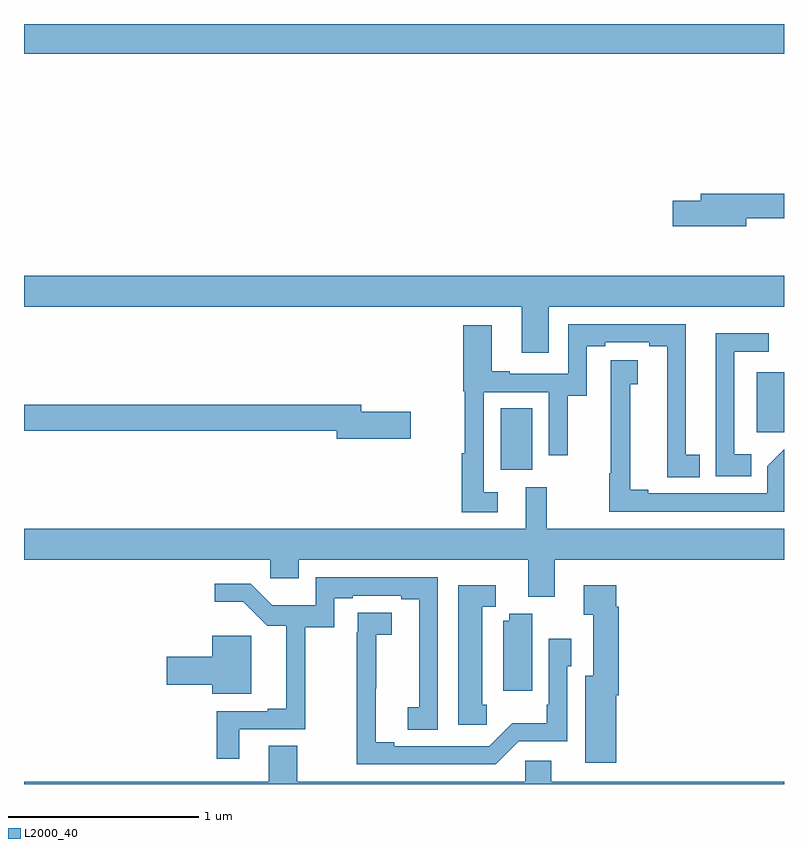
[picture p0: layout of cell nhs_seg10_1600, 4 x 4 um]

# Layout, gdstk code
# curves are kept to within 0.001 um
import gdstk
lib = gdstk.Library(unit=1e-6, precision=1e-09)
def R(c, l, rs):  # rectangles x0, y0, x1, y1
    for r in rs: c.add(gdstk.rectangle(r[:2], r[2:], *l))
def P(c, l, *ps):  # polygons
    for p in ps: c.add(gdstk.Polygon(p, *l))
L2000_40 = (2000, 40)

nhs_seg10_1600 = lib.new_cell('nhs_seg10_1600')
R(nhs_seg10_1600, L2000_40, [(197.51,1270.155,197.674,1270.478), (198.857,1270.352,199,1270.666), (195,1272.344,199,1272.5)])
P(nhs_seg10_1600, L2000_40, [(198.802,1271.478),(199,1271.478),(199,1271.606),(198.563,1271.606),(198.563,1271.57),(198.414,1271.57),(198.414,1271.435),(198.802,1271.435)],
  [(197.761,1271.012),(199,1271.012),(199,1271.176),(195,1271.176),(195,1271.012),(197.621,1271.012),(197.621,1270.77),(197.761,1270.77)],
  [(197.494,1270.035),(197.421,1270.035),(197.421,1270.563),(197.763,1270.563),(197.763,1270.23),(197.862,1270.23),(197.862,1270.543),(197.961,1270.543),(197.961,1270.804),(198.058,1270.804),(198.058,1270.824),(198.29,1270.824),(198.29,1270.804),(198.386,1270.804),(198.386,1270.114),(198.557,1270.114),(198.557,1270.233),(198.484,1270.233),(198.484,1270.92),(197.865,1270.92),(197.865,1270.659),(197.557,1270.659),(197.557,1270.672),(197.461,1270.672),(197.461,1270.915),(197.312,1270.915),(197.312,1270.566),(197.32,1270.566),(197.32,1270.242),(197.305,1270.242),(197.305,1269.93),(197.494,1269.93)],
  [(198.827,1270.235),(198.738,1270.235),(198.738,1270.776),(198.919,1270.776),(198.919,1270.873),(198.641,1270.873),(198.641,1270.322),(198.642,1270.322),(198.642,1270.119),(198.827,1270.119)],
  [(199,1270.261),(198.912,1270.173),(198.912,1270.029),(198.286,1270.029),(198.286,1270.049),(198.19,1270.049),(198.19,1270.604),(198.229,1270.604),(198.229,1270.729),(198.089,1270.729),(198.089,1270.136),(198.079,1270.136),(198.079,1269.933),(199,1269.933)],
  [(197.035,1270.46),(196.774,1270.46),(196.774,1270.496),(195,1270.496),(195,1270.36),(196.646,1270.36),(196.646,1270.318),(197.035,1270.318)],
  [(197.794,1269.68),(199,1269.68),(199,1269.844),(197.752,1269.844),(197.752,1270.063),(197.642,1270.063),(197.642,1269.844),(195,1269.844),(195,1269.68),(196.296,1269.68),(196.296,1269.582),(196.447,1269.582),(196.447,1269.68),(197.654,1269.68),(197.654,1269.486),(197.794,1269.486)],
  [(196.132,1268.787),(196.481,1268.787),(196.481,1269.325),(196.632,1269.325),(196.632,1269.478),(196.729,1269.478),(196.729,1269.492),(196.985,1269.492),(196.985,1269.472),(197.081,1269.472),(197.08,1268.905),(197.019,1268.905),(197.019,1268.785),(197.178,1268.785),(197.178,1269.588),(196.536,1269.588),(196.536,1269.442),(196.307,1269.442),(196.194,1269.555),(196.005,1269.555),(196.005,1269.458),(196.153,1269.458),(196.279,1269.333),(196.379,1269.333),(196.379,1268.896),(196.283,1268.896),(196.283,1268.883),(196.015,1268.883),(196.015,1268.634),(196.132,1268.634)],
  [(197.435,1268.916),(197.413,1268.916),(197.413,1269.432),(197.482,1269.432),(197.482,1269.547),(197.285,1269.547),(197.285,1268.811),(197.435,1268.811)],
  [(198.118,1268.966),(198.131,1268.966),(198.131,1269.434),(198.118,1269.434),(198.118,1269.547),(197.946,1269.547),(197.946,1269.391),(197.996,1269.391),(197.996,1269.07),(197.954,1269.07),(197.954,1268.613),(198.118,1268.613)],
  [(197.604,1268.724),(197.859,1268.724),(197.859,1269.12),(197.88,1269.12),(197.88,1269.265),(197.763,1269.265),(197.763,1268.917),(197.751,1268.917),(197.751,1268.821),(197.569,1268.821),(197.448,1268.7),(196.948,1268.7),(196.948,1268.72),(196.852,1268.72),(196.854,1269.286),(196.936,1269.286),(196.936,1269.401),(196.756,1269.401),(196.756,1269.299),(196.75,1269.299),(196.75,1268.604),(197.484,1268.604)],
  [(197.674,1269.395),(197.554,1269.395),(197.554,1269.358),(197.522,1269.358),(197.522,1268.991),(197.674,1268.991)],
  [(196.195,1269.28),(195.992,1269.28),(195.992,1269.17),(195.75,1269.17),(195.75,1269.023),(195.992,1269.023),(195.992,1268.975),(196.195,1268.975)],
  [(199,1268.512),(197.776,1268.512),(197.776,1268.622),(197.637,1268.622),(197.637,1268.512),(196.437,1268.512),(196.437,1268.702),(196.289,1268.702),(196.289,1268.512),(195,1268.512),(195,1268.5),(199,1268.5)])

lib.write_gds('nhs_seg10_1600.gds')
